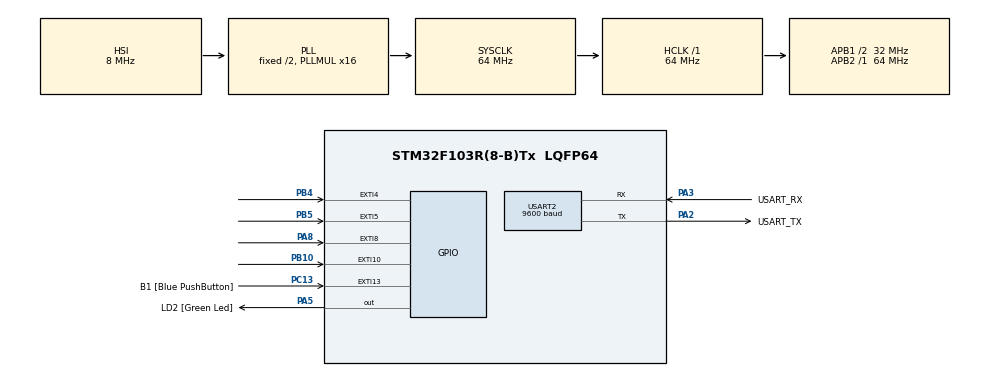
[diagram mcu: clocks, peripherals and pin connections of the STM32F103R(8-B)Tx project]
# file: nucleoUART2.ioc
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Mcu.Family=STM32F1
Mcu.Name=STM32F103R(8-B)Tx
Mcu.Package=LQFP64
NVIC.EXTI15_10_IRQn=true\:0\:0\:false\:false\:true\:true\:true\:true
NVIC.EXTI4_IRQn=true\:0\:0\:false\:false\:true\:true\:true\:true
NVIC.EXTI9_5_IRQn=true\:0\:0\:false\:false\:true\:true\:true\:true
NVIC.PriorityGroup=NVIC_PRIORITYGROUP_4
PA13.GPIO_Label=TMS
PA13.Mode=Serial_Wire
PA13.Signal=SYS_JTMS-SWDIO
PA14.GPIO_Label=TCK
PA14.Mode=Serial_Wire
PA14.Signal=SYS_JTCK-SWCLK
PA2.GPIO_Label=USART_TX
PA2.GPIO_Mode=GPIO_MODE_AF_PP
PA2.GPIO_PuPd=GPIO_NOPULL
PA2.GPIO_Speed=GPIO_SPEED_FREQ_LOW
PA2.Mode=Asynchronous
PA2.Signal=USART2_TX
PA3.GPIO_Label=USART_RX
PA3.GPIO_Mode=GPIO_MODE_AF_PP
PA3.GPIO_PuPd=GPIO_NOPULL
PA3.GPIO_Speed=GPIO_SPEED_FREQ_LOW
PA3.Mode=Asynchronous
PA3.Signal=USART2_RX
PA5.GPIO_Label=LD2 [Green Led]
PA5.GPIO_ModeDefaultOutputPP=GPIO_MODE_OUTPUT_PP
PA5.GPIO_PuPd=GPIO_NOPULL
PA5.GPIO_Speed=GPIO_SPEED_FREQ_LOW
PA5.Signal=GPIO_Output
PA8.GPIO_ModeDefaultEXTI=GPIO_MODE_IT_FALLING
PA8.Signal=GPXTI8
PB10.GPIO_ModeDefaultEXTI=GPIO_MODE_IT_FALLING
PB10.Signal=GPXTI10
PB3.GPIO_Label=SWO
PB3.Signal=SYS_JTDO-TRACESWO
PB4.GPIO_ModeDefaultEXTI=GPIO_MODE_IT_FALLING
PB4.Signal=GPXTI4
PB5.GPIO_ModeDefaultEXTI=GPIO_MODE_IT_FALLING
PB5.Signal=GPXTI5
PC13-TAMPER-RTC.GPIO_Label=B1 [Blue PushButton]
PC13-TAMPER-RTC.GPIO_PuPd=GPIO_NOPULL
PC13-TAMPER-RTC.Signal=GPXTI13
PC14-OSC32_IN.Mode=LSE-External-Oscillator
PC14-OSC32_IN.Signal=RCC_OSC32_IN
PC15-OSC32_OUT.Mode=LSE-External-Oscillator
PC15-OSC32_OUT.Signal=RCC_OSC32_OUT
PD0-OSC_IN.Mode=HSE-External-Clock-Source
PD0-OSC_IN.Signal=RCC_OSC_IN
PD1-OSC_OUT.Mode=HSE-External-Clock-Source
PD1-OSC_OUT.Signal=RCC_OSC_OUT
ProjectManager.HeapSize=0x200
ProjectManager.StackSize=0x400
ProjectManager.TargetToolchain=STM32CubeIDE
RCC.AHBFreq_Value=64000000
RCC.APB1CLKDivider=RCC_HCLK_DIV2
RCC.APB1Freq_Value=32000000
RCC.APB1TimFreq_Value=64000000
RCC.APB2Freq_Value=64000000
RCC.APB2TimFreq_Value=64000000
RCC.HCLKFreq_Value=64000000
RCC.PLLMUL=RCC_PLL_MUL16
RCC.RTCClockSelection=RCC_RTCCLKSOURCE_LSE
RCC.SYSCLKFreq_VALUE=64000000
RCC.SYSCLKSource=RCC_SYSCLKSOURCE_PLLCLK
RCC.USBFreq_Value=64000000
USART2.BaudRate=9600
USART2.VirtualMode=VM_ASYNC
board=NUCLEO-F103RB

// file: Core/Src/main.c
/* USER CODE BEGIN Header */
/**
 ******************************************************************************
 * @file           : main.c
 * @brief          : Main program body
 ******************************************************************************
 * @attention
 *
 * Copyright (c) 2022 STMicroelectronics.
 * All rights reserved.
 *
 * This software is licensed under terms that can be found in the LICENSE file
 * in the root directory of this software component.
 * If no LICENSE file comes with this software, it is provided AS-IS.
 *
 ******************************************************************************
 */
/* USER CODE END Header */
#include "main.h"
#include "string.h"

/* USER CODE BEGIN PD */
#define TxBufferSize (countof(TxBuffer) -1 )
#define RxBufferSize 0xFF
#define countof(a) (sizeof(a) / sizeof(*(a)))
/* USER CODE END PD */

UART_HandleTypeDef huart2;

/* USER CODE BEGIN PV */
char TxBuffer[100] = "\n\rHello\n\r\n\r";
uint8_t RxBuffer[RxBufferSize];
/* USER CODE END PV */

void SystemClock_Config(void);
static void MX_GPIO_Init(void);
static void MX_USART2_UART_Init(void);

/* USER CODE BEGIN 0 */
void HAL_GPIO_EXTI_Callback(uint16_t GPIO_Pin) {
//	switch(GPIO_Pin)
//	{

	if (GPIO_Pin == GPIO_PIN_8)
		strcpy(TxBuffer, "\n\rSwitch 1 pressed \n\r\n\r");
	else if (GPIO_Pin == GPIO_PIN_4)
		strcpy(TxBuffer, "\n\rSwitch 2 pressed \n\r\n\r");
	else if (GPIO_Pin == GPIO_PIN_5)
		strcpy(TxBuffer, "\n\rSwitch 3 pressed \n\r\n\r");
	else if (GPIO_Pin == GPIO_PIN_10)
		strcpy(TxBuffer, "\n\rSwitch 4 pressed \n\r\n\r");

	HAL_UART_Transmit(&huart2, (uint8_t*) TxBuffer, TxBufferSize, 0xFFFF);
}
/* USER CODE END 0 */

int main(void) {

	/* MCU Configuration--------------------------------------------------------*/

	/* Reset of all peripherals, Initializes the Flash interface and the Systick. */
	HAL_Init();

	/* Configure the system clock */
	SystemClock_Config();

	/* Initialize all configured peripherals */
	MX_GPIO_Init();
	MX_USART2_UART_Init();

	/* Infinite loop */
	while (1) {

	}
}

void SystemClock_Config(void) {
	RCC_OscInitTypeDef RCC_OscInitStruct = { 0 };
	RCC_ClkInitTypeDef RCC_ClkInitStruct = { 0 };

	/** Initializes the RCC Oscillators according to the specified parameters
	 * in the RCC_OscInitTypeDef structure.
	 */
	RCC_OscInitStruct.OscillatorType = RCC_OSCILLATORTYPE_HSI;
	RCC_OscInitStruct.HSIState = RCC_HSI_ON;
	RCC_OscInitStruct.HSICalibrationValue = RCC_HSICALIBRATION_DEFAULT;
	RCC_OscInitStruct.PLL.PLLState = RCC_PLL_ON;
	RCC_OscInitStruct.PLL.PLLSource = RCC_PLLSOURCE_HSI_DIV2;
	RCC_OscInitStruct.PLL.PLLMUL = RCC_PLL_MUL16;
	if (HAL_RCC_OscConfig(&RCC_OscInitStruct) != HAL_OK) {
		Error_Handler();
	}

	/** Initializes the CPU, AHB and APB buses clocks
	 */
	RCC_ClkInitStruct.ClockType = RCC_CLOCKTYPE_HCLK | RCC_CLOCKTYPE_SYSCLK
			| RCC_CLOCKTYPE_PCLK1 | RCC_CLOCKTYPE_PCLK2;
	RCC_ClkInitStruct.SYSCLKSource = RCC_SYSCLKSOURCE_PLLCLK;
	RCC_ClkInitStruct.AHBCLKDivider = RCC_SYSCLK_DIV1;
	RCC_ClkInitStruct.APB1CLKDivider = RCC_HCLK_DIV2;
	RCC_ClkInitStruct.APB2CLKDivider = RCC_HCLK_DIV1;

	if (HAL_RCC_ClockConfig(&RCC_ClkInitStruct, FLASH_LATENCY_2) != HAL_OK) {
		Error_Handler();
	}
}

static void MX_USART2_UART_Init(void) {

	huart2.Instance = USART2;
	huart2.Init.BaudRate = 9600;
	huart2.Init.WordLength = UART_WORDLENGTH_8B;
	huart2.Init.StopBits = UART_STOPBITS_1;
	huart2.Init.Parity = UART_PARITY_NONE;
	huart2.Init.Mode = UART_MODE_TX_RX;
	huart2.Init.HwFlowCtl = UART_HWCONTROL_NONE;
	huart2.Init.OverSampling = UART_OVERSAMPLING_16;
	if (HAL_UART_Init(&huart2) != HAL_OK) {
		Error_Handler();
	}

}

static void MX_GPIO_Init(void) {
	GPIO_InitTypeDef GPIO_InitStruct = { 0 };

	/* GPIO Ports Clock Enable */
	__HAL_RCC_GPIOC_CLK_ENABLE();
	__HAL_RCC_GPIOD_CLK_ENABLE();
	__HAL_RCC_GPIOA_CLK_ENABLE();
	__HAL_RCC_GPIOB_CLK_ENABLE();

	/*Configure GPIO pin Output Level */
	HAL_GPIO_WritePin(LD2_GPIO_Port, LD2_Pin, GPIO_PIN_RESET);

	/*Configure GPIO pin : B1_Pin */
	GPIO_InitStruct.Pin = B1_Pin;
	GPIO_InitStruct.Mode = GPIO_MODE_IT_RISING;
	GPIO_InitStruct.Pull = GPIO_NOPULL;
	HAL_GPIO_Init(B1_GPIO_Port, &GPIO_InitStruct);

	/*Configure GPIO pin : LD2_Pin */
	GPIO_InitStruct.Pin = LD2_Pin;
	GPIO_InitStruct.Mode = GPIO_MODE_OUTPUT_PP;
	GPIO_InitStruct.Pull = GPIO_NOPULL;
	GPIO_InitStruct.Speed = GPIO_SPEED_FREQ_LOW;
	HAL_GPIO_Init(LD2_GPIO_Port, &GPIO_InitStruct);

	/*Configure GPIO pins : PB10 PB4 PB5 */
	GPIO_InitStruct.Pin = GPIO_PIN_10 | GPIO_PIN_4 | GPIO_PIN_5;
	GPIO_InitStruct.Mode = GPIO_MODE_IT_FALLING;
	GPIO_InitStruct.Pull = GPIO_NOPULL;
	HAL_GPIO_Init(GPIOB, &GPIO_InitStruct);

	/*Configure GPIO pin : PA8 */
	GPIO_InitStruct.Pin = GPIO_PIN_8;
	GPIO_InitStruct.Mode = GPIO_MODE_IT_FALLING;
	GPIO_InitStruct.Pull = GPIO_NOPULL;
	HAL_GPIO_Init(GPIOA, &GPIO_InitStruct);

	/* EXTI interrupt init*/
	HAL_NVIC_SetPriority(EXTI4_IRQn, 0, 0);
	HAL_NVIC_EnableIRQ(EXTI4_IRQn);

	HAL_NVIC_SetPriority(EXTI9_5_IRQn, 0, 0);
	HAL_NVIC_EnableIRQ(EXTI9_5_IRQn);

	HAL_NVIC_SetPriority(EXTI15_10_IRQn, 0, 0);
	HAL_NVIC_EnableIRQ(EXTI15_10_IRQn);

}

void Error_Handler(void) {
	__disable_irq();
	while (1) {
	}
}
